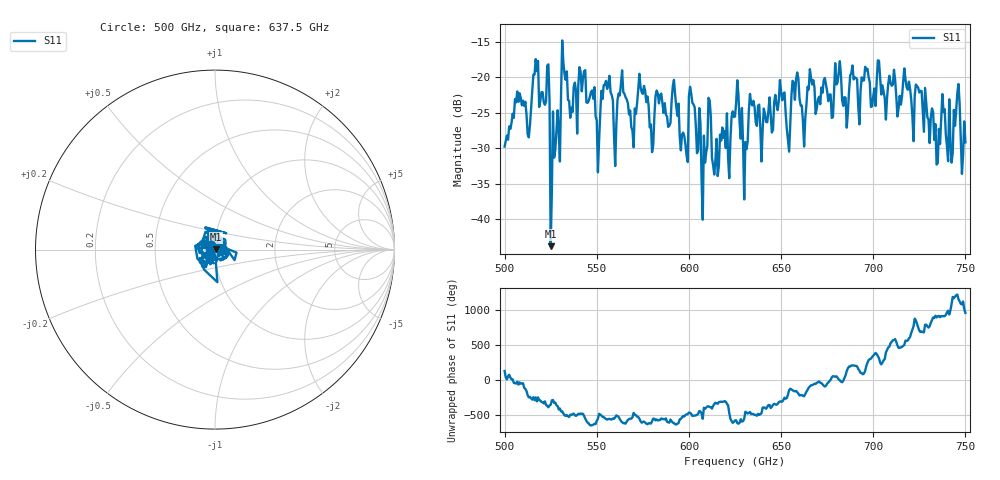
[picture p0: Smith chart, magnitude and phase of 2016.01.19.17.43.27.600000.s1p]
!Created with skrf (http://scikit-rf.org).
# GHz S RI R 50.0
!freq ReS11 ImS11
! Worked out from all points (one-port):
!   401 points, 500 GHz to 750 GHz, reference 50 ohm
!   lowest |S11| = -43.8 dB at 525 GHz (marker M1), VSWR 1.01, Z = 50.6 + j0.0865 ohm
!   |S11| at or under -10 dB: start of sweep to end of sweep
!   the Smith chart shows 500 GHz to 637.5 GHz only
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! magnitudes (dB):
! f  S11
! 500 GHz  -29.8
! 506.9 GHz  -22.0
! 513.1 GHz  -28.5
! 516.9 GHz  -17.4
! 523.1 GHz  -18.3
! 525 GHz  -43.8
! 526.2 GHz  -24.8
! 531.2 GHz  -14.8
! 542.5 GHz  -20.2
! 550.6 GHz  -33.4
! 553.8 GHz  -21.1
! 560 GHz  -32.5
! 562.5 GHz  -22.6
! 593.8 GHz  -25.4
! 598.1 GHz  -29.5
! 601.9 GHz  -23.6
! 608.1 GHz  -28.2
! 610.6 GHz  -22.9
! 615 GHz  -28.7
! 625 GHz  -25.5
! 630.6 GHz  -29.1
! 633.8 GHz  -23.6
! 650.6 GHz  -23.2
! 653.8 GHz  -28.9
! 656.2 GHz  -20.5
! 687.5 GHz  -19.7
! 718.8 GHz  -21.7
! 750 GHz  -29.2
